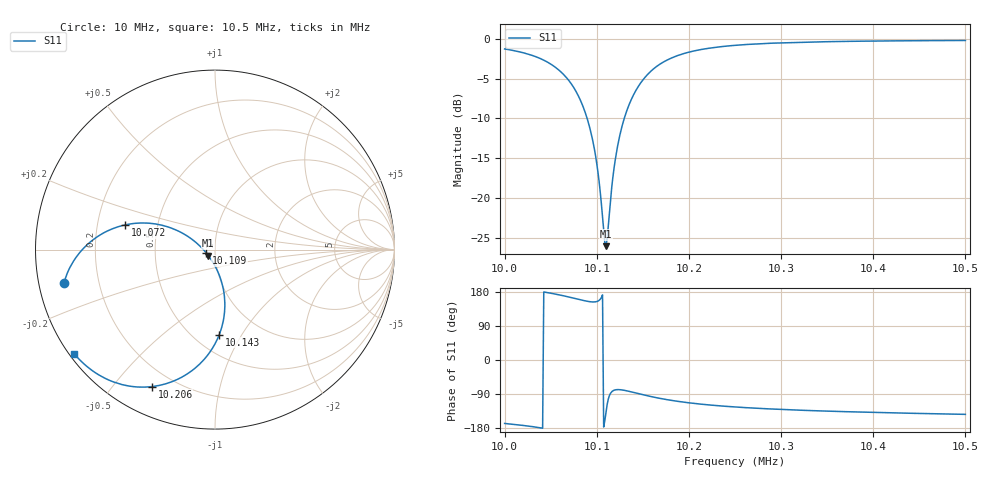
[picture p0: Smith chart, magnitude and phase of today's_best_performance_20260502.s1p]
# HZ S RI R 50
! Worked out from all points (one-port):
!   401 points, 10 MHz to 10.5 MHz, reference 50 ohm
!   lowest |S11| = -26.0 dB at 10.11 MHz (marker M1), VSWR 1.11, Z = 46.3 - j3.08 ohm
!   |S11| at or under -10 dB: 10.08955 MHz to 10.12983 MHz (40.27 kHz wide, 0.398 % of centre)
!   S11 on the Smith chart (normalised r, x): 10 MHz: 0.07, -0.11; 10.072 MHz: 0.32, +0.12; 10.109 MHz: 0.91, -0.03; 10.143 MHz: 0.66, -0.80; 10.206 MHz: 0.12, -0.63; 10.5 MHz: 0.01, -0.33
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1e7  -0.8424 -0.1876
1.0035e7  -0.7664 -0.0328
1.004875e7  -0.7001 0.038
1.00625e7  -0.5999 0.1036
1.00725e7  -0.5014 0.1375
1.0085e7  -0.3479 0.1451
1.009e7  -0.2808 0.1319
1.0095e7  -0.2133 0.1075
1.010125e7  -0.1327 0.0607
1.01075e7  -0.0618 -0.0033
1.010875e7  -0.0493 -0.018
1.011e7  -0.0373 -0.0332
1.011125e7  -0.026 -0.049
1.01125e7  -0.0153 -0.0651
1.011625e7  0.0125 -0.1162
1.011875e7  0.0273 -0.1517
1.0125e7  0.0502 -0.2426
1.01325e7  0.0531 -0.3485
1.01425e7  0.0239 -0.4736
1.01525e7  -0.03 -0.5734
1.016375e7  -0.1036 -0.6543
1.01875e7  -0.2542 -0.7412
1.020625e7  -0.3519 -0.7634
1.025e7  -0.508 -0.7545
1.03125e7  -0.6307 -0.7076
1.0375e7  -0.7014 -0.6608
1.04375e7  -0.7487 -0.6192
1.05e7  -0.7837 -0.5817
